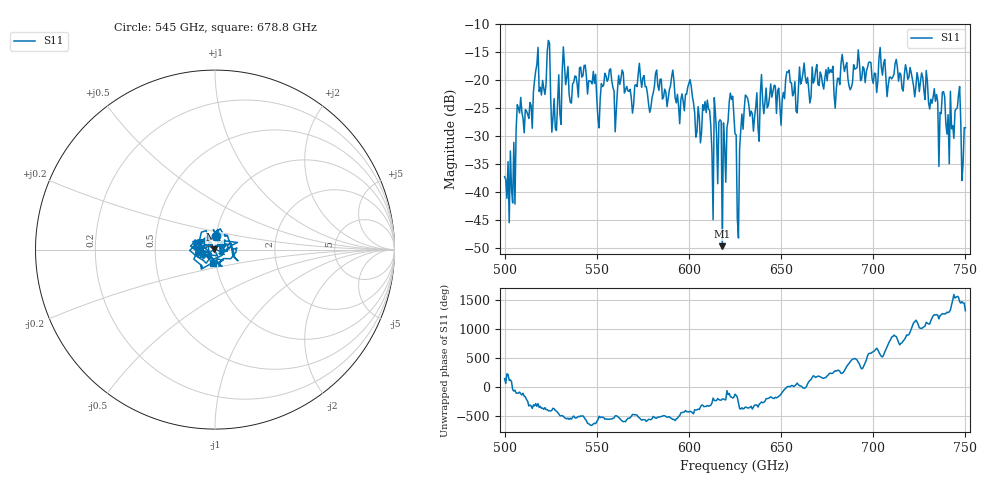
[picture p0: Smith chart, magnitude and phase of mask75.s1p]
!Created with skrf (http://scikit-rf.org).
# GHz S MA R 50.0
!freq magS11 angS11
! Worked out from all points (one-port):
!   401 points, 500 GHz to 750 GHz, reference 50 ohm
!   lowest |S11| = -49.7 dB at 618.1 GHz (marker M1), VSWR 1.01, Z = 49.7 + j0.166 ohm
!   |S11| at or under -10 dB: start of sweep to end of sweep
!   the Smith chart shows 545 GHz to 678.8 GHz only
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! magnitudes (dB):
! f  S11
! 500 GHz  -37.3
! 504.4 GHz  -42.0
! 507.5 GHz  -25.0
! 513.8 GHz  -24.0
! 516.9 GHz  -18.4
! 523.8 GHz  -12.9
! 526.9 GHz  -23.3
! 531.2 GHz  -18.5
! 542.5 GHz  -19.2
! 551.2 GHz  -28.6
! 562.5 GHz  -20.8
! 593.8 GHz  -22.5
! 600.6 GHz  -19.9
! 605 GHz  -24.8
! 610 GHz  -23.6
! 611.9 GHz  -28.2
! 618.1 GHz  -49.7
! 619.4 GHz  -31.7
! 622.5 GHz  -22.3
! 625 GHz  -29.6
! 626.9 GHz  -48.3
! 631.2 GHz  -22.9
! 656.2 GHz  -22.8
! 687.5 GHz  -21.7
! 718.8 GHz  -19.9
! 742.5 GHz  -28.7
! 745.6 GHz  -25.0
! 750 GHz  -28.5
